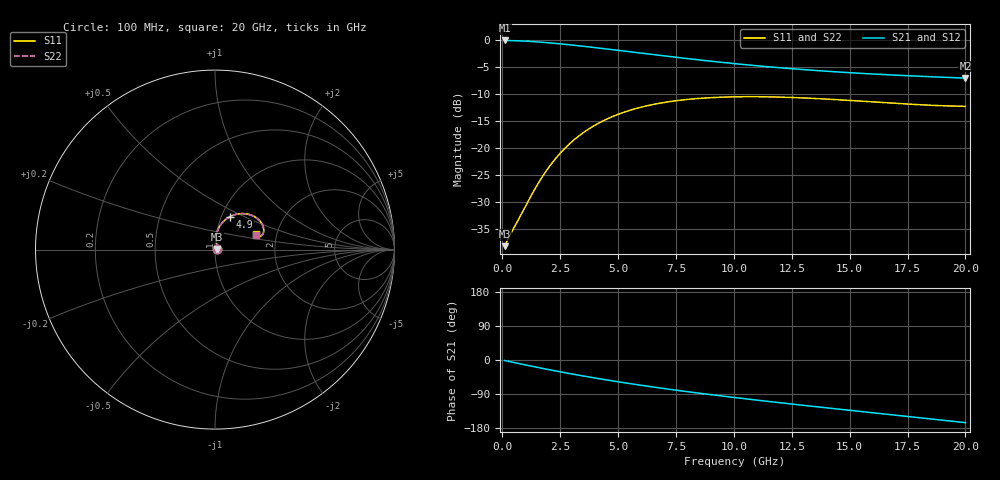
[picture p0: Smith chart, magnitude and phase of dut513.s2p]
! Touchstone file exported from HFSS 2024.1.0
!  File:  C:/UserFiles/LocalFiles/RDL_TSV_Batchsim/temp_RDL_TSV_513_1779740467.aedt
!  Generated:  04:56:41 AM May 26, 2026
!  Design:  RDL_TSV
!  Project:  temp_RDL_TSV_513_1779740467
!  Setup:  Setup1
!  Solution:  Sweep
! Variables:
!  dtsv = 5.04um
!  hbump = 3um
!  htsv = 70.81um
!  ldown = 653.35um
!  lrdl = 111.19um
!  p = 40
!  p1 = 46.82um
!  rhole = 10um
!  subl = 2404.81um
!  t = 450um
!  tdown = 4.38um
!  trdl = 2.13um
!  viad = 10um
!  wdown = 24.95um
!  wrdl = 23.55um
!  xbump = 18um
# GHz S MA R 50.000000
! Terminal data exported
! Port[1] = TM1_1_T1
! Port[2] = TM1_4_T1
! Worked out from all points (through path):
!   200 points, 100 MHz to 20 GHz, reference 50 ohm
!   highest |S21| = -0.11 dB at 100 MHz (marker M1); lowest = -7.1 dB at 20 GHz (marker M2)
!   group delay of S21, straight-line fit = 21.8 ps
!   lowest |S11| = -38.1 dB at 100 MHz (marker M3), VSWR 1.03, Z = 51.2 + j0.327 ohm
!   |S11| at or under -10 dB: start of sweep to end of sweep
!   |S22| runs from -38.1 to -10.5 dB; largest |S21 - S12| = 9.1e-15
!   S11 on the Smith chart (normalised r, x): 100 MHz: 1.02, +0.01; 4.9 GHz: 1.10, +0.42; 20 GHz: 1.56, +0.28
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0.1  0.01243 14.9  0.9874 -1.4  0.9874 -1.4  0.01242 14.9
! Gamma 0 0 0 0
! Port Impedance 50 0 50 0
0.3  0.0153 33.9  0.9853 -4.0  0.9853 -4.0  0.01528 33.8
0.7  0.02194 57.7  0.9792 -9.2  0.9792 -9.2  0.02189 57.6
1.3  0.03821 77.8  0.9645 -16.8  0.9645 -16.8  0.0381 77.8
1.6  0.04922 82.2  0.9547 -20.5  0.9547 -20.5  0.04909 82.2
1.9  0.06171 84.3  0.9437 -24.2  0.9437 -24.2  0.06156 84.3
2.3  0.08002 84.6  0.9274 -28.9  0.9274 -28.9  0.07984 84.6
2.7  0.09947 83.1  0.9098 -33.5  0.9098 -33.5  0.09926 83.1
3.1  0.1193 80.7  0.8914 -38.0  0.8914 -38.0  0.1191 80.7
3.5  0.1391 77.7  0.8724 -42.3  0.8724 -42.3  0.1388 77.6
4.2  0.1719 71.7  0.8386 -49.6  0.8386 -49.6  0.1715 71.7
4.9  0.2013 65.7  0.8049 -56.5  0.8049 -56.5  0.2009 65.6
5.8  0.233 58.1  0.7629 -65.0  0.7629 -65.0  0.2325 58.0
6.8  0.26 50.4  0.7189 -73.8  0.7189 -73.8  0.2594 50.4
8.4  0.2867 39.9  0.6562 -86.8  0.6562 -86.8  0.286 39.8
10.1  0.298 31.1  0.601 -99.6  0.601 -99.6  0.2972 31.0
11.7  0.2971 24.7  0.5591 -110.8  0.5591 -110.8  0.2962 24.6
13.4  0.2883 20.0  0.5237 -122.3  0.5237 -122.3  0.2874 19.9
15  0.2759 17.3  0.4974 -132.8  0.4974 -132.8  0.275 17.2
16.7  0.2615 16.5  0.4752 -143.8  0.4752 -143.8  0.2606 16.4
18.4  0.2494 17.7  0.4574 -154.9  0.4574 -154.9  0.2486 17.6
20  0.2432 20.3  0.4434 -165.3  0.4434 -165.3  0.2424 20.2
